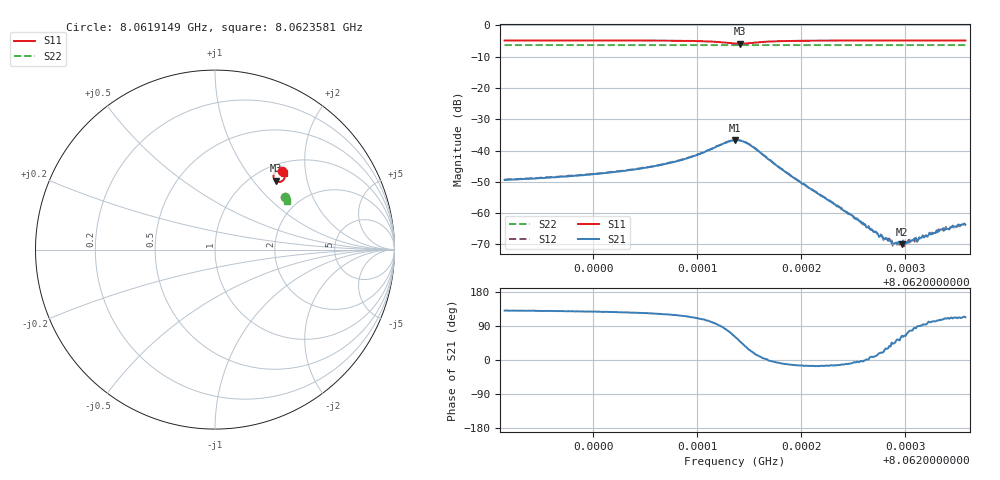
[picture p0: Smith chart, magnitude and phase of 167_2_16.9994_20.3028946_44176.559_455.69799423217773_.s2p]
#  HZ  S  RI  R  50.00
! Rohde & Schwarz Vector Network Analyzer
! Rohde-Schwarz,ZNB20-2Port,1311601062101988,3.16
! Created: UTC 3/20/2024, 10:59:35 PM
! freq[Hz]  re:S11  im:S11  re:S21  im:S21  re:S12  im:S12  re:S22  im:S22
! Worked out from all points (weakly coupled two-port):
!   401 points, 8.0619149 GHz to 8.0623581 GHz, reference 50 ohm
!   highest |S21| = -36.66 dB at 8.0621365 GHz (marker M1); lowest = -69.9 dB at 8.0622971 GHz (marker M2)
!   lowest |S11| = -5.8 dB at 8.0621409 GHz (marker M3), VSWR 3.09, Z = 62.9 + j65.5 ohm
!   |S11| at or under -10 dB: nowhere
!   |S22| runs from -6.3 to -6.3 dB; largest |S21 - S12| = 0.001
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8.06191494e9  0.3707 0.4404  -0.0022 0.00258  -0.00208 0.00275  0.3876 0.293
8.06198917e9  0.3768 0.4345  -0.0025 0.00318  -0.00233 0.00336  0.3902 0.2893
8.06203016e9  0.3809 0.4298  -0.00275 0.00385  -0.00257 0.00408  0.3915 0.2872
8.06206339e9  0.3848 0.4237  -0.00306 0.00493  -0.0028 0.00521  0.3927 0.2852
8.06209441e9  0.3883 0.4116  -0.0031 0.00727  -0.00272 0.00753  0.3936 0.2834
8.06212654e9  0.3726 0.3811  0.00157 0.0131  0.00237 0.0131  0.3935 0.2806
8.06213651e9  0.3485 0.3782  0.00705 0.0129  0.00794 0.0125  0.3928 0.2804
8.06214094e9  0.3373 0.3842  0.00939 0.0111  0.01 0.0106  0.3923 0.2807
8.06215202e9  0.3261 0.4113  0.0111 0.0047  0.0114 0.0041  0.3926 0.2816
8.06217971e9  0.35 0.4387  0.00521 -0.000746  0.00523 -0.00109  0.3951 0.2811
8.06221073e9  0.3653 0.4387  0.00227 -0.000624  0.00226 -0.000798  0.3966 0.2795
8.06225394e9  0.3746 0.435  0.000789 -5.44e-05  0.000817 -0.000122  0.3984 0.2771
8.06226834e9  0.3766 0.434  0.000542 7.84e-05  0.000484 4.88e-05  0.3988 0.2764
8.06228496e9  0.3786 0.4328  0.000298 0.000225  0.000327 0.000217  0.3995 0.2755
8.0622905e9  0.3793 0.4323  0.000231 0.00024  0.000235 0.000201  0.3996 0.2752
8.06229714e9  0.3799 0.4319  0.000139 0.000287  0.000202 0.000275  0.4 0.2749
8.06230157e9  0.3805 0.4316  0.00012 0.000307  0.000126 0.000317  0.4001 0.2746
8.06230822e9  0.381 0.4311  4.5e-05 0.000377  6.61e-05 0.000372  0.4003 0.2743
8.06231376e9  0.3816 0.4306  7.6e-07 0.000407  1.38e-05 0.00041  0.4004 0.274
8.06232151e9  0.3822 0.4301  -4.83e-05 0.000417  -3.79e-05 0.000444  0.4007 0.2736
8.06233481e9  0.3837 0.4292  -0.000148 0.000531  -0.000134 0.000518  0.4013 0.2729
8.06235807e9  0.3855 0.4278  -0.000254 0.0006  -0.000241 0.000622  0.402 0.2718
